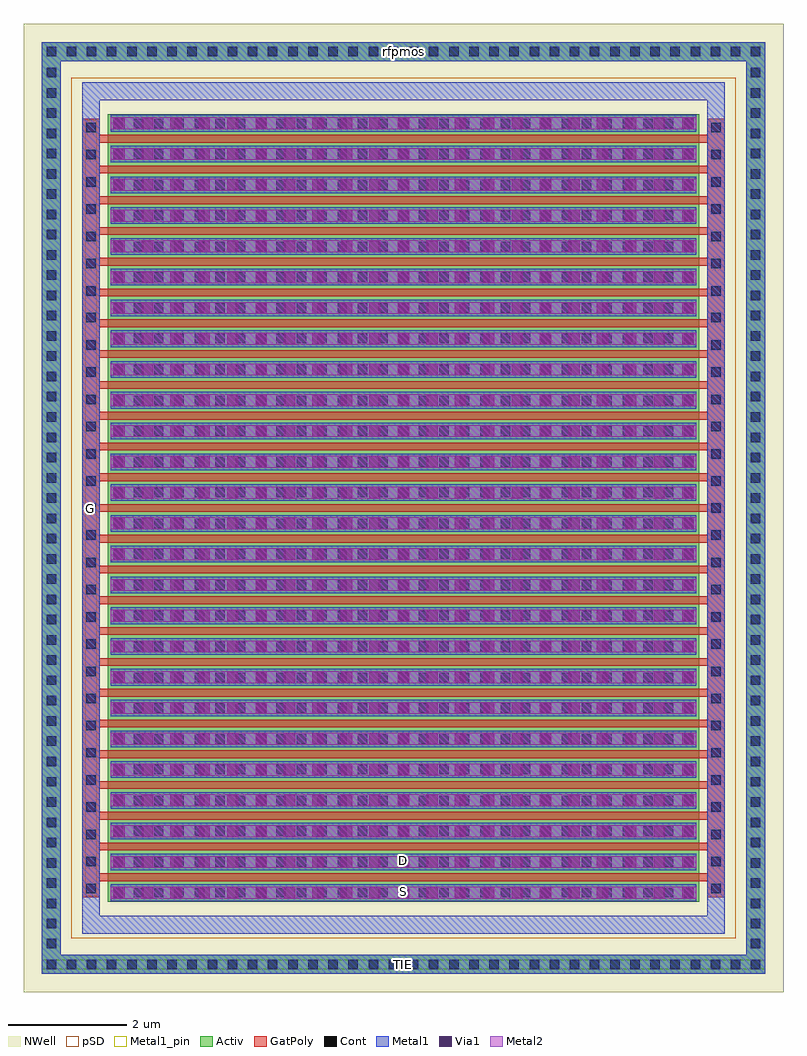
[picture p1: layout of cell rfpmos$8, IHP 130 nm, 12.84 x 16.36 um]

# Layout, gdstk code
import gdstk
lib = gdstk.Library(unit=1e-6, precision=5e-09)
def R(c, l, rs):  # rectangles x0, y0, x1, y1
    for r in rs: c.add(gdstk.rectangle(r[:2], r[2:], *l))
def A(c, l, x, y, w, h, nx, ny, dx, dy):  # array of equal rectangles
    R(c, l, [(x+i*dx, y+j*dy, x+i*dx+w, y+j*dy+h) for i in range(nx) for j in range(ny)])
def P(c, l, *ps):  # polygons
    for p in ps: c.add(gdstk.Polygon(p, *l))
Activ = (1, 0)
GatPoly = (5, 0)
Cont = (6, 0)
Metal1 = (8, 0)
Metal1_pin = (8, 2)
Metal2 = (10, 0)
pSD = (14, 0)
Via1 = (19, 0)
NWell = (31, 0)

rfpmos_8 = lib.new_cell('rfpmos$8')
R(rfpmos_8, Activ, [(1.42,1.525,11.42,14.835)])
P(rfpmos_8, Activ, [(0.31,0.31),(0.31,15.73),(0.63,15.73),(0.63,0.63),(12.21,0.63),(12.21,15.73),(0.31,15.73),(0.31,16.05),(12.53,16.05),(12.53,0.31)])
A(rfpmos_8, GatPoly, 1.29, 1.875, 10.26, 0.13, 1, 25, 0, 0.52)
R(rfpmos_8, GatPoly, [(0.99,1.6,1.29,14.76), (11.55,1.6,11.85,14.76)])
A(rfpmos_8, Cont, 0.39, 0.39, 0.16, 0.16, 36, 2, 0.34, 15.42)
A(rfpmos_8, Cont, 0.39, 0.74, 0.16, 0.16, 1, 3, 0, 0.34)
A(rfpmos_8, Cont, 12.29, 0.74, 0.16, 0.16, 1, 3, 0, 0.34)
A(rfpmos_8, Cont, 1.52, 1.6, 0.16, 0.16, 1, 26, 0, 0.52)
A(rfpmos_8, Cont, 1.86, 1.6, 0.16, 0.16, 7, 26, 0.345, 0.52)
A(rfpmos_8, Cont, 4.27, 1.6, 0.16, 0.16, 7, 26, 0.345, 0.52)
A(rfpmos_8, Cont, 6.68, 1.6, 0.16, 0.16, 7, 26, 0.345, 0.52)
A(rfpmos_8, Cont, 9.09, 1.6, 0.16, 0.16, 7, 26, 0.345, 0.52)
A(rfpmos_8, Cont, 1.06, 2.125, 0.16, 0.16, 1, 7, 0, 0.46)
A(rfpmos_8, Cont, 11.62, 2.125, 0.16, 0.16, 1, 7, 0, 0.46)
A(rfpmos_8, Cont, 0.39, 5.19, 0.16, 0.16, 1, 3, 0, 0.34)
A(rfpmos_8, Cont, 12.29, 5.19, 0.16, 0.16, 1, 3, 0, 0.34)
A(rfpmos_8, Cont, 1.06, 5.34, 0.16, 0.16, 1, 7, 0, 0.46)
A(rfpmos_8, Cont, 11.62, 5.34, 0.16, 0.16, 1, 7, 0, 0.46)
A(rfpmos_8, Cont, 1.06, 8.555, 0.16, 0.16, 1, 7, 0, 0.46)
A(rfpmos_8, Cont, 11.62, 8.555, 0.16, 0.16, 1, 7, 0, 0.46)
A(rfpmos_8, Cont, 0.39, 10.325, 0.16, 0.16, 1, 3, 0, 0.34)
A(rfpmos_8, Cont, 12.29, 10.325, 0.16, 0.16, 1, 3, 0, 0.34)
A(rfpmos_8, Cont, 1.06, 11.77, 0.16, 0.16, 1, 7, 0, 0.46)
A(rfpmos_8, Cont, 11.62, 11.77, 0.16, 0.16, 1, 7, 0, 0.46)
R(rfpmos_8, Cont, [(1.06,1.67,1.22,1.83), (11.62,1.67,11.78,1.83), (0.39,1.765,0.55,1.925), (12.29,1.765,12.45,1.925), (0.39,2.105,0.55,2.265), (12.29,2.105,12.45,2.265), (0.39,2.45,0.55,2.61), (12.29,2.45,12.45,2.61), (0.39,2.79,0.55,2.95), (12.29,2.79,12.45,2.95), (0.39,3.135,0.55,3.295), (12.29,3.135,12.45,3.295), (0.39,3.475,0.55,3.635), (12.29,3.475,12.45,3.635), (0.39,3.82,0.55,3.98), (12.29,3.82,12.45,3.98), (0.39,4.16,0.55,4.32), (12.29,4.16,12.45,4.32), (0.39,4.505,0.55,4.665), (12.29,4.505,12.45,4.665), (0.39,4.845,0.55,5.005), (12.29,4.845,12.45,5.005), (0.39,6.215,0.55,6.375), (12.29,6.215,12.45,6.375), (0.39,6.555,0.55,6.715), (12.29,6.555,12.45,6.715), (0.39,6.9,0.55,7.06), (12.29,6.9,12.45,7.06), (0.39,7.24,0.55,7.4), (12.29,7.24,12.45,7.4), (0.39,7.585,0.55,7.745), (12.29,7.585,12.45,7.745), (0.39,7.925,0.55,8.085), (12.29,7.925,12.45,8.085), (0.39,8.27,0.55,8.43), (12.29,8.27,12.45,8.43), (0.39,8.61,0.55,8.77), (12.29,8.61,12.45,8.77), (0.39,8.955,0.55,9.115), (12.29,8.955,12.45,9.115), (0.39,9.295,0.55,9.455), (12.29,9.295,12.45,9.455), (0.39,9.64,0.55,9.8), (12.29,9.64,12.45,9.8), (0.39,9.98,0.55,10.14), (12.29,9.98,12.45,10.14), (0.39,11.35,0.55,11.51), (12.29,11.35,12.45,11.51), (0.39,11.69,0.55,11.85), (12.29,11.69,12.45,11.85), (0.39,12.035,0.55,12.195), (12.29,12.035,12.45,12.195), (0.39,12.375,0.55,12.535), (12.29,12.375,12.45,12.535), (0.39,12.72,0.55,12.88), (12.29,12.72,12.45,12.88), (0.39,13.06,0.55,13.22), (12.29,13.06,12.45,13.22), (0.39,13.405,0.55,13.565), (12.29,13.405,12.45,13.565), (0.39,13.745,0.55,13.905), (12.29,13.745,12.45,13.905), (0.39,14.09,0.55,14.25), (12.29,14.09,12.45,14.25), (0.39,14.43,0.55,14.59), (12.29,14.43,12.45,14.59), (0.39,14.775,0.55,14.935), (12.29,14.775,12.45,14.935), (0.39,15.115,0.55,15.275), (12.29,15.115,12.45,15.275), (0.39,15.46,0.55,15.62), (12.29,15.46,12.45,15.62)])
A(rfpmos_8, Metal1, 1.47, 1.54, 9.9, 0.28, 1, 26, 0, 0.52)
R(rfpmos_8, Metal1, [(0.31,0.31,12.53,0.63), (0.31,0.63,0.63,15.73), (12.21,0.63,12.53,15.73), (1.04,1.62,1.24,14.74), (11.6,1.62,11.8,14.74), (0.31,15.73,12.53,16.05)])
P(rfpmos_8, Metal1, [(0.99,0.99),(0.99,15.07),(1.29,15.07),(1.29,1.29),(11.55,1.29),(11.55,15.07),(0.99,15.07),(0.99,15.37),(11.85,15.37),(11.85,0.99)])
R(rfpmos_8, Metal1_pin, [(0.31,0.39,12.53,0.55), (0.31,0.39,12.53,0.55), (1.47,1.54,11.37,1.82), (1.47,1.54,11.37,1.82), (1.04,1.62,1.24,14.74), (1.04,1.62,1.24,14.74), (1.47,2.06,11.37,2.34), (1.47,2.06,11.37,2.34)])
A(rfpmos_8, Metal2, 1.47, 1.58, 9.9, 0.2, 1, 26, 0, 0.52)
R(rfpmos_8, pSD, [(0.81,0.91,12.03,15.45)])
A(rfpmos_8, Via1, 1.52, 1.585, 0.19, 0.19, 10, 26, 0.48, 0.52)
A(rfpmos_8, Via1, 6.325, 1.585, 0.19, 0.19, 10, 26, 0.48, 0.52)
A(rfpmos_8, Via1, 11.13, 1.585, 0.19, 0.19, 1, 26, 0, 0.52)
R(rfpmos_8, NWell, [(0,0,12.84,16.36)])
rfpmos_8.add(gdstk.Label('S', (6.42,1.7), layer=63, texttype=0))
rfpmos_8.add(gdstk.Label('D', (6.42,2.22), layer=63, texttype=0))
rfpmos_8.add(gdstk.Label('G', (1.14,8.18), layer=63, texttype=0))
rfpmos_8.add(gdstk.Label('TIE', (6.42,0.47), layer=63, texttype=0))
rfpmos_8.add(gdstk.Label('rfpmos', (6.42,15.89), layer=63, texttype=0))

lib.write_gds('rfpmos_8.gds')
